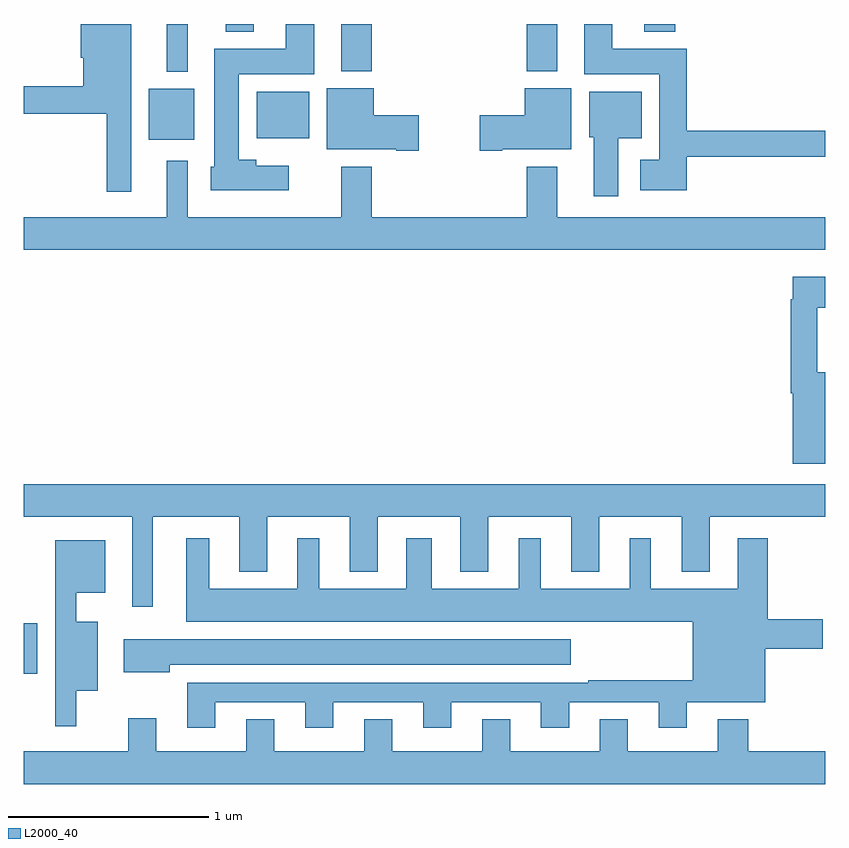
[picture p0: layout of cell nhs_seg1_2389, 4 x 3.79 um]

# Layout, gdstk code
import gdstk
lib = gdstk.Library(unit=1e-6, precision=1e-09)
def R(c, l, rs):  # rectangles x0, y0, x1, y1
    for r in rs: c.add(gdstk.rectangle(r[:2], r[2:], *l))
def P(c, l, *ps):  # polygons
    for p in ps: c.add(gdstk.Polygon(p, *l))
L2000_40 = (2000, 40)

nhs_seg1_2389 = lib.new_cell('nhs_seg1_2389')
R(nhs_seg1_2389, L2000_40, [(241,542.957,241.069,543.211), (241.625,545.621,241.852,545.875), (242.162,545.63,242.425,545.86), (241.715,545.96,241.819,546.199), (242.585,545.963,242.738,546.199), (243.509,545.963,243.661,546.199), (242.009,546.161,242.149,546.199), (244.097,546.161,244.25,546.199)])
P(nhs_seg1_2389, L2000_40, [(241.537,546.199),(241.286,546.199),(241.286,546.03),(241.298,546.03),(241.298,545.888),(241,545.888),(241,545.752),(241.416,545.752),(241.416,545.361),(241.537,545.361)],
  [(244.307,545.538),(245,545.538),(245,545.666),(244.307,545.666),(244.307,546.076),(243.937,546.076),(243.937,546.199),(243.797,546.199),(243.797,545.948),(244.172,545.948),(244.172,545.521),(244.077,545.521),(244.077,545.369),(244.307,545.369)],
  [(242.323,545.491),(242.161,545.491),(242.161,545.521),(242.074,545.521),(242.074,545.948),(242.449,545.948),(242.449,546.199),(242.309,546.199),(242.309,546.076),(241.952,546.076),(241.952,545.487),(241.934,545.487),(241.934,545.369),(242.323,545.369)],
  [(242.971,545.744),(242.746,545.744),(242.746,545.878),(242.513,545.878),(242.513,545.573),(242.858,545.573),(242.858,545.566),(242.971,545.566)],
  [(243.388,545.573),(243.733,545.573),(243.733,545.878),(243.5,545.878),(243.5,545.744),(243.276,545.744),(243.276,545.566),(243.388,545.566)],
  [(243.967,545.63),(244.084,545.63),(244.084,545.86),(243.821,545.86),(243.821,545.634),(243.845,545.634),(243.845,545.34),(243.967,545.34)],
  [(241.715,545.518),(241.715,545.236),(241,545.236),(241,545.072),(245,545.072),(245,545.236),(243.661,545.236),(243.661,545.488),(243.509,545.488),(243.509,545.236),(242.738,545.236),(242.738,545.488),(242.585,545.488),(242.585,545.236),(241.819,545.236),(241.819,545.518)],
  [(245,544.462),(244.96,544.462),(244.96,544.783),(245,544.783),(245,544.939),(244.838,544.939),(244.838,544.826),(244.826,544.826),(244.826,544.358),(244.838,544.358),(244.838,544.005),(245,544.005)],
  [(241.645,543.74),(242.075,543.74),(242.075,543.467),(242.215,543.467),(242.215,543.74),(242.627,543.74),(242.627,543.467),(242.767,543.467),(242.767,543.74),(243.179,543.74),(243.179,543.467),(243.319,543.467),(243.319,543.74),(243.731,543.74),(243.731,543.467),(243.871,543.467),(243.871,543.74),(244.283,543.74),(244.283,543.467),(244.423,543.467),(244.423,543.74),(245,543.74),(245,543.904),(241,543.904),(241,543.74),(241.541,543.74),(241.541,543.291),(241.645,543.291)],
  [(241.957,542.817),(242.405,542.817),(242.405,542.688),(242.545,542.688),(242.545,542.817),(242.993,542.817),(242.993,542.688),(243.133,542.688),(243.133,542.817),(243.581,542.817),(243.581,542.688),(243.721,542.688),(243.721,542.817),(244.169,542.817),(244.169,542.688),(244.309,542.688),(244.309,542.816),(244.699,542.816),(244.699,543.083),(244.987,543.083),(244.987,543.23),(244.712,543.23),(244.712,543.634),(244.562,543.634),(244.562,543.382),(244.129,543.382),(244.129,543.634),(244.025,543.634),(244.025,543.382),(243.58,543.382),(243.58,543.634),(243.47,543.634),(243.47,543.382),(243.037,543.382),(243.037,543.634),(242.909,543.634),(242.909,543.382),(242.476,543.382),(242.476,543.634),(242.366,543.634),(242.366,543.382),(241.927,543.382),(241.927,543.634),(241.811,543.634),(241.811,543.218),(244.337,543.218),(244.337,542.926),(243.817,542.926),(243.817,542.913),(241.817,542.913),(241.817,542.688),(241.957,542.688)],
  [(241.264,542.873),(241.369,542.873),(241.369,543.217),(241.264,543.217),(241.264,543.362),(241.408,543.362),(241.408,543.625),(241.157,543.625),(241.157,542.697),(241.264,542.697)],
  [(241.729,543.002),(243.73,543.002),(243.73,543.13),(241.5,543.13),(241.5,542.966),(241.729,542.966)],
  [(245,542.572),(244.616,542.572),(244.616,542.731),(244.463,542.731),(244.463,542.572),(244.015,542.572),(244.015,542.732),(243.875,542.732),(243.875,542.572),(243.427,542.572),(243.427,542.732),(243.287,542.732),(243.287,542.572),(242.839,542.572),(242.839,542.732),(242.699,542.732),(242.699,542.572),(242.251,542.572),(242.251,542.732),(242.111,542.732),(242.111,542.572),(241.663,542.572),(241.663,542.737),(241.523,542.737),(241.523,542.572),(241,542.572),(241,542.408),(245,542.408)])

lib.write_gds('nhs_seg1_2389.gds')
